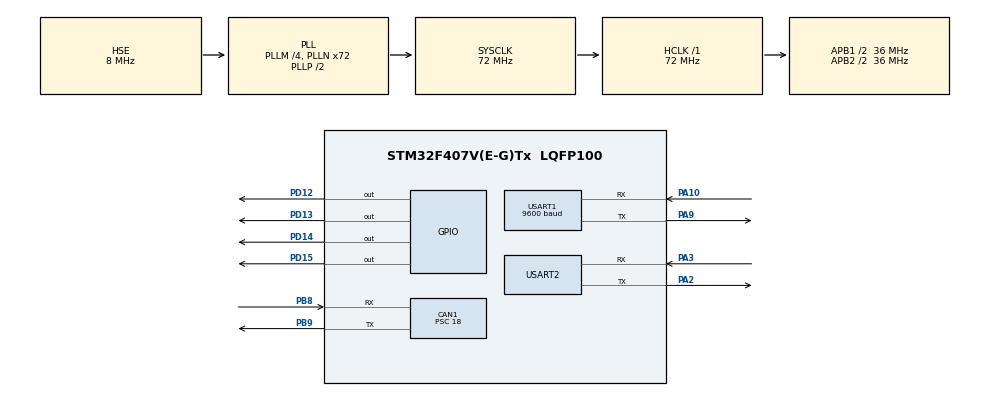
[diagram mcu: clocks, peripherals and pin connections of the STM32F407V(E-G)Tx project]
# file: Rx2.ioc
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CAN1.BS1=CAN_BS1_2TQ
CAN1.CalculateBaudRate=500000
CAN1.CalculateTimeBit=2000
CAN1.CalculateTimeQuantum=500.0
CAN1.Prescaler=18
Mcu.Family=STM32F4
Mcu.Name=STM32F407V(E-G)Tx
Mcu.Package=LQFP100
NVIC.CAN1_RX0_IRQn=true\:0\:0\:false\:false\:true\:true\:true\:true
NVIC.PriorityGroup=NVIC_PRIORITYGROUP_0
NVIC.USART1_IRQn=true\:0\:0\:false\:false\:true\:true\:true\:true
PA10.Mode=Asynchronous
PA10.Signal=USART1_RX
PA2.Mode=Asynchronous
PA2.Signal=USART2_TX
PA3.Mode=Asynchronous
PA3.Signal=USART2_RX
PA9.Mode=Asynchronous
PA9.Signal=USART1_TX
PB8.Mode=CAN_Activate
PB8.Signal=CAN1_RX
PB9.Mode=CAN_Activate
PB9.Signal=CAN1_TX
PD12.Signal=GPIO_Output
PD13.Signal=GPIO_Output
PD14.Signal=GPIO_Output
PD15.Signal=GPIO_Output
PH0-OSC_IN.Mode=HSE-External-Oscillator
PH0-OSC_IN.Signal=RCC_OSC_IN
PH1-OSC_OUT.Mode=HSE-External-Oscillator
PH1-OSC_OUT.Signal=RCC_OSC_OUT
ProjectManager.HeapSize=0x200
ProjectManager.StackSize=0x400
ProjectManager.TargetToolchain=STM32CubeIDE
RCC.48MHZClocksFreq_Value=20571428.57142857
RCC.AHBFreq_Value=72000000
RCC.APB1CLKDivider=RCC_HCLK_DIV2
RCC.APB1Freq_Value=36000000
RCC.APB1TimFreq_Value=72000000
RCC.APB2CLKDivider=RCC_HCLK_DIV2
RCC.APB2Freq_Value=36000000
RCC.APB2TimFreq_Value=72000000
RCC.CortexFreq_Value=72000000
RCC.HCLKFreq_Value=72000000
RCC.HSE_VALUE=8000000
RCC.HSI_VALUE=16000000
RCC.LSE_VALUE=32768
RCC.PLLM=4
RCC.PLLN=72
RCC.PLLQ=7
RCC.PLLSourceVirtual=RCC_PLLSOURCE_HSE
RCC.SYSCLKFreq_VALUE=72000000
RCC.SYSCLKSource=RCC_SYSCLKSOURCE_PLLCLK
RCC.VCOOutputFreq_Value=144000000
USART1.BaudRate=9600
USART1.VirtualMode=VM_ASYNC
USART2.VirtualMode=VM_ASYNC
board=STM32F407G-DISC1

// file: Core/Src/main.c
/* USER CODE BEGIN Header */
/**
  ******************************************************************************
  * @file           : main.c
  * @brief          : Main program body
  ******************************************************************************
  * @attention
  *
  * Copyright (c) 2023 STMicroelectronics.
  * All rights reserved.
  *
  * This software is licensed under terms that can be found in the LICENSE file
  * in the root directory of this software component.
  * If no LICENSE file comes with this software, it is provided AS-IS.
  *
  ******************************************************************************
  */
/* USER CODE END Header */
#include "main.h"

/* USER CODE BEGIN Includes */
#include<stdio.h>
#include<string.h>
#include<stdlib.h>
/* USER CODE END Includes */

CAN_HandleTypeDef hcan1;

UART_HandleTypeDef huart1;
UART_HandleTypeDef huart2;

/* USER CODE BEGIN PV */
uint8_t rpm;
//char receivedRPM;
/* USER CODE END PV */

void SystemClock_Config(void);
static void MX_GPIO_Init(void);
static void MX_CAN1_Init(void);
static void MX_USART2_UART_Init(void);
static void MX_USART1_UART_Init(void);

/* USER CODE BEGIN 0 */
CAN_RxHeaderTypeDef RxHeader;
uint8_t RxData[5];

char UARTsend[21];
char receivedRPM[3];

void HAL_CAN_RxFifo0MsgPendingCallback(CAN_HandleTypeDef *hcan){

	HAL_GPIO_WritePin(GPIOD, GPIO_PIN_15, GPIO_PIN_SET); // blue
	HAL_CAN_GetRxMessage(&hcan1, CAN_RX_FIFO0, &RxHeader, RxData);
}

void UART_ReceiveString(uint8_t* buffer, uint16_t maxLength) {
    uint16_t index = 0;
    uint8_t receivedChar = 0; // Initialize receivedChar to zero

    //memset(buffer, 0, maxLength);
    // Loop until carriage return character '\r' is received or maximum length reached
    do {
        HAL_UART_Receive(&huart1, (uint8_t *)&receivedChar, 1, HAL_MAX_DELAY); // Polling receive
        if (receivedChar == '\r' || receivedChar == '\n') {
                    continue;
                }
        buffer[index++] = receivedChar;

        if (index >= maxLength) {
            break;
        }
    } while (receivedChar != '\r' && index < maxLength);

    // Null-terminate the string
//    buffer[index] = '\0';
}
/* USER CODE END 0 */

int main(void)
{
  /* USER CODE BEGIN 1 */
//uint8_t receivedRPM[4];
  /* USER CODE END 1 */

  /* MCU Configuration--------------------------------------------------------*/

  /* Reset of all peripherals, Initializes the Flash interface and the Systick. */
  HAL_Init();

  /* Configure the system clock */
  SystemClock_Config();

  /* Initialize all configured peripherals */
  MX_GPIO_Init();
  MX_CAN1_Init();
  MX_USART2_UART_Init();
  MX_USART1_UART_Init();
  /* USER CODE BEGIN 2 */
  HAL_CAN_Start(&hcan1);
  HAL_CAN_ActivateNotification(&hcan1, CAN_IT_RX_FIFO0_MSG_PENDING);
//  HAL_Delay(100);
//  HAL_Delay(100);
  /* USER CODE END 2 */

  /* Infinite loop */
  /* USER CODE BEGIN WHILE */
  while (1)
  {
	  	  HAL_UART_Receive(&huart1, &rpm, sizeof(rpm), HAL_MAX_DELAY);
	  	  //UART_ReceiveString((uint8_t *)receivedRPM, 3);
	  if(RxData[0] != 0){
	  		HAL_GPIO_WritePin(GPIOD, GPIO_PIN_14, GPIO_PIN_SET); //
	  		}
//	  	  	UART_ReceiveString(receivedRPM, 4);
//	  		rpmS[sizeof(rpmS) - 1] = '\0';
//
//	  		rpm = atoi(rpmS);
//	  		RxData[4] = rpm;
//	  		int i = 0;
//	  		for(i = 0; i < RxHeader.DLC; ++i)
//	  		{
//	  			UARTsend[i] = RxData[i];
//	  		}

	  		memset(UARTsend, 0, sizeof(UARTsend));
//	  		int i = 0;
//	  		 for (i = 0; i < 4; i++) {
//	  			 if (i > 0) {  // Add comma after the first element
//				  //strcat(UARTsend, ",");
//				  }
//				  snprintf(UARTsend + strlen(UARTsend), sizeof(UARTsend) - strlen(UARTsend), "%03d", RxData[i]);
	  			snprintf(UARTsend, sizeof(UARTsend), "%03d,%03d,%03d,%03d,%03d,#", RxData[0], RxData[1], RxData[2], RxData[3], rpm);

//			  }
//	  		 	strcat(UARTsend,rpm);
//				  strcat(UARTsend, ",");
//				  strcat(UARTsend, receivedRPM);
				 // strcat(UARTsend, ",");

			  // Add the delimiter at the end (modify "#" as needed)
			  strcat(UARTsend, "#");

	  		HAL_UART_Transmit(&huart2, (uint8_t *)UARTsend, sizeof(UARTsend), HAL_MAX_DELAY);

	  		HAL_GPIO_WritePin(GPIOD, GPIO_PIN_14, GPIO_PIN_RESET);

	  		HAL_Delay(500);

    /* USER CODE END WHILE */

  }
}

void SystemClock_Config(void)
{
  RCC_OscInitTypeDef RCC_OscInitStruct = {0};
  RCC_ClkInitTypeDef RCC_ClkInitStruct = {0};

  /** Configure the main internal regulator output voltage
  */
  __HAL_RCC_PWR_CLK_ENABLE();
  __HAL_PWR_VOLTAGESCALING_CONFIG(PWR_REGULATOR_VOLTAGE_SCALE1);

  /** Initializes the RCC Oscillators according to the specified parameters
  * in the RCC_OscInitTypeDef structure.
  */
  RCC_OscInitStruct.OscillatorType = RCC_OSCILLATORTYPE_HSE;
  RCC_OscInitStruct.HSEState = RCC_HSE_ON;
  RCC_OscInitStruct.PLL.PLLState = RCC_PLL_ON;
  RCC_OscInitStruct.PLL.PLLSource = RCC_PLLSOURCE_HSE;
  RCC_OscInitStruct.PLL.PLLM = 4;
  RCC_OscInitStruct.PLL.PLLN = 72;
  RCC_OscInitStruct.PLL.PLLP = RCC_PLLP_DIV2;
  RCC_OscInitStruct.PLL.PLLQ = 7;
  if (HAL_RCC_OscConfig(&RCC_OscInitStruct) != HAL_OK)
  {
    Error_Handler();
  }

  /** Initializes the CPU, AHB and APB buses clocks
  */
  RCC_ClkInitStruct.ClockType = RCC_CLOCKTYPE_HCLK|RCC_CLOCKTYPE_SYSCLK
                              |RCC_CLOCKTYPE_PCLK1|RCC_CLOCKTYPE_PCLK2;
  RCC_ClkInitStruct.SYSCLKSource = RCC_SYSCLKSOURCE_PLLCLK;
  RCC_ClkInitStruct.AHBCLKDivider = RCC_SYSCLK_DIV1;
  RCC_ClkInitStruct.APB1CLKDivider = RCC_HCLK_DIV2;
  RCC_ClkInitStruct.APB2CLKDivider = RCC_HCLK_DIV2;

  if (HAL_RCC_ClockConfig(&RCC_ClkInitStruct, FLASH_LATENCY_2) != HAL_OK)
  {
    Error_Handler();
  }
}

static void MX_CAN1_Init(void)
{

  hcan1.Instance = CAN1;
  hcan1.Init.Prescaler = 18;
  hcan1.Init.Mode = CAN_MODE_NORMAL;
  hcan1.Init.SyncJumpWidth = CAN_SJW_1TQ;
  hcan1.Init.TimeSeg1 = CAN_BS1_2TQ;
  hcan1.Init.TimeSeg2 = CAN_BS2_1TQ;
  hcan1.Init.TimeTriggeredMode = DISABLE;
  hcan1.Init.AutoBusOff = DISABLE;
  hcan1.Init.AutoWakeUp = DISABLE;
  hcan1.Init.AutoRetransmission = DISABLE;
  hcan1.Init.ReceiveFifoLocked = DISABLE;
  hcan1.Init.TransmitFifoPriority = DISABLE;
  if (HAL_CAN_Init(&hcan1) != HAL_OK)
  {
    Error_Handler();
  }
  /* USER CODE BEGIN CAN1_Init 2 */
  CAN_FilterTypeDef canFilterConfig;
  canFilterConfig.FilterActivation=CAN_FILTER_ENABLE;
  canFilterConfig.SlaveStartFilterBank=14;
  canFilterConfig.FilterBank=2;
  canFilterConfig.FilterFIFOAssignment=CAN_RX_FIFO0;
  canFilterConfig.FilterScale=CAN_FILTERSCALE_32BIT;
  canFilterConfig.FilterMode=CAN_FILTERMODE_IDMASK;
  canFilterConfig.FilterMaskIdLow=0x0000;
  canFilterConfig.FilterMaskIdHigh=0xFF00;
  canFilterConfig.FilterIdLow=0x0000;
  canFilterConfig.FilterIdHigh=0x1500;
  HAL_CAN_ConfigFilter(&hcan1, &canFilterConfig);
  /* USER CODE END CAN1_Init 2 */

}

static void MX_USART1_UART_Init(void)
{

  huart1.Instance = USART1;
  huart1.Init.BaudRate = 9600;
  huart1.Init.WordLength = UART_WORDLENGTH_8B;
  huart1.Init.StopBits = UART_STOPBITS_1;
  huart1.Init.Parity = UART_PARITY_NONE;
  huart1.Init.Mode = UART_MODE_TX_RX;
  huart1.Init.HwFlowCtl = UART_HWCONTROL_NONE;
  huart1.Init.OverSampling = UART_OVERSAMPLING_16;
  if (HAL_UART_Init(&huart1) != HAL_OK)
  {
    Error_Handler();
  }

}

static void MX_USART2_UART_Init(void)
{

  huart2.Instance = USART2;
  huart2.Init.BaudRate = 115200;
  huart2.Init.WordLength = UART_WORDLENGTH_8B;
  huart2.Init.StopBits = UART_STOPBITS_1;
  huart2.Init.Parity = UART_PARITY_NONE;
  huart2.Init.Mode = UART_MODE_TX_RX;
  huart2.Init.HwFlowCtl = UART_HWCONTROL_NONE;
  huart2.Init.OverSampling = UART_OVERSAMPLING_16;
  if (HAL_UART_Init(&huart2) != HAL_OK)
  {
    Error_Handler();
  }

}

static void MX_GPIO_Init(void)
{
  GPIO_InitTypeDef GPIO_InitStruct = {0};

  /* GPIO Ports Clock Enable */
  __HAL_RCC_GPIOH_CLK_ENABLE();
  __HAL_RCC_GPIOA_CLK_ENABLE();
  __HAL_RCC_GPIOD_CLK_ENABLE();
  __HAL_RCC_GPIOB_CLK_ENABLE();

  /*Configure GPIO pin Output Level */
  HAL_GPIO_WritePin(GPIOD, GPIO_PIN_12|GPIO_PIN_13|GPIO_PIN_14|GPIO_PIN_15, GPIO_PIN_RESET);

  /*Configure GPIO pins : PD12 PD13 PD14 PD15 */
  GPIO_InitStruct.Pin = GPIO_PIN_12|GPIO_PIN_13|GPIO_PIN_14|GPIO_PIN_15;
  GPIO_InitStruct.Mode = GPIO_MODE_OUTPUT_PP;
  GPIO_InitStruct.Pull = GPIO_NOPULL;
  GPIO_InitStruct.Speed = GPIO_SPEED_FREQ_LOW;
  HAL_GPIO_Init(GPIOD, &GPIO_InitStruct);

}

void Error_Handler(void)
{
  __disable_irq();
  while (1)
  {
  }
}
